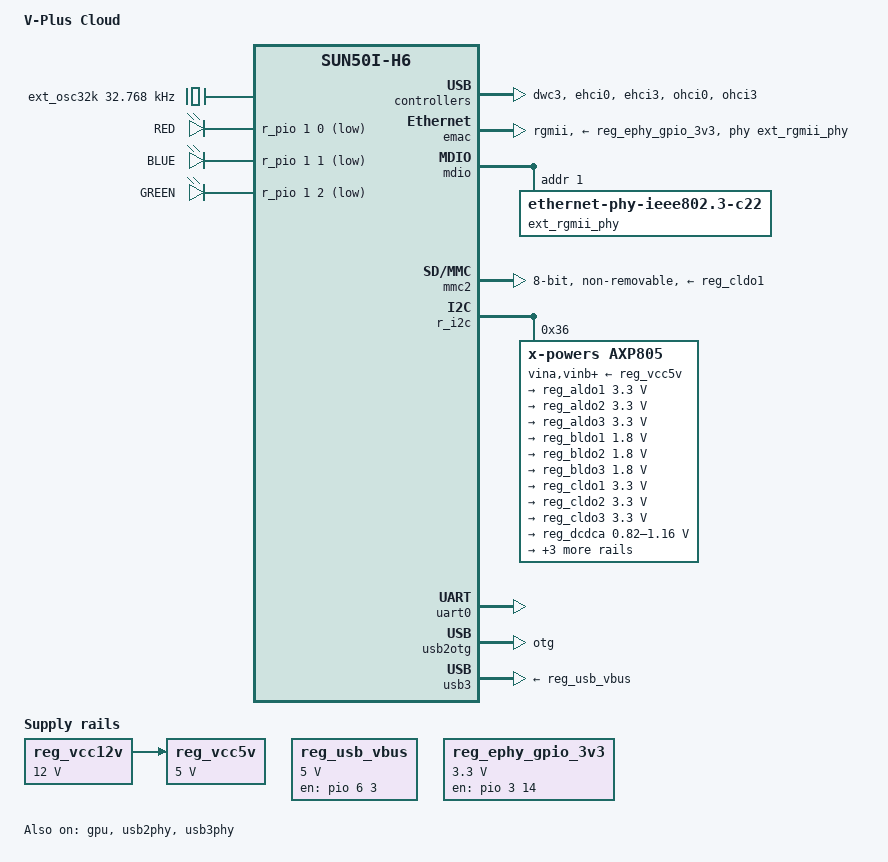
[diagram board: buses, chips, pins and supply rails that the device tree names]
// SPDX-License-Identifier: (GPL-2.0+ OR MIT)
// Copyright (C) 2019 Ondřej Jirman <megous@megous.com>

/dts-v1/;

#include "sun50i-h6.dtsi"
#include "sun50i-h6-vplus-cloud-cpu-opp.dtsi"
#include <dt-bindings/gpio/gpio.h>

/ {
	model = "V-Plus Cloud";
	compatible = "vplus,vplus-cloud", "allwinner,sun50i-h6";

	aliases {
		serial0 = &uart0;
		ethernet0 = &emac;
	};

	chosen {
		stdout-path = "serial0:115200n8";
	};

	ext_osc32k: ext_osc32k_clk {
		#clock-cells = <0>;
		compatible = "fixed-clock";
		clock-frequency = <32768>;
		clock-output-names = "ext_osc32k";
	};

	leds {
		compatible = "gpio-leds";

		power {
			label = "RED";
			gpios = <&r_pio 1 0 GPIO_ACTIVE_LOW>; /* PM0 */
			linux,default-trigger = "default-on";
		};

		link {
			label = "BLUE";
			gpios = <&r_pio 1 1 GPIO_ACTIVE_LOW>;
			linux,default-trigger = "stmmac-0:01:link"; /* PM1 */
		};

		disk {
			label = "GREEN";
			gpios = <&r_pio 1 2 GPIO_ACTIVE_LOW>; /* PM2 */
			linux,default-trigger = "mmc0";
		};
	};

	reg_vcc12v: vcc12v {
		compatible = "regulator-fixed";
		regulator-name = "vcc-12v";
		regulator-min-microvolt = <12000000>;
		regulator-max-microvolt = <12000000>;
		regulator-always-on;
		regulator-boot-on;
	};

	reg_vcc5v: vcc5v {
		compatible = "regulator-fixed";
		regulator-name = "vcc-5v";
		regulator-min-microvolt = <5000000>;
		regulator-max-microvolt = <5000000>;
		regulator-always-on;
		regulator-boot-on;
		vin-supply = <&reg_vcc12v>;
	};

	reg_usb_vbus: vbus {
		compatible = "regulator-fixed";
		//regulator-name = "usb-vbus";
		regulator-name = "vbus";
		regulator-min-microvolt = <5000000>;
		regulator-max-microvolt = <5000000>;
		gpio = <&pio 6 3 GPIO_ACTIVE_HIGH>; /* PG3 */
		startup-delay-us = <100000>;
		enable-active-high;
	};

	reg_ephy_gpio_3v3: ephy-gpio-3v3 {
		compatible = "regulator-fixed";
		regulator-name = "vcc-ephy-gpio-3v3";

		regulator-min-microvolt = <3300000>;
		regulator-max-microvolt = <3300000>;
		startup-delay-us = <100000>;

		gpio = <&pio 3 14 GPIO_ACTIVE_HIGH>; /* PD14 */
		enable-active-high;
	};
};

&cpu0 {
	cpu-supply = <&reg_dcdca>;
};

&de {
	status = "disabled";
};

&dwc3 {
	status = "okay";
};

&ehci0 {
	status = "okay";
};

&ehci3 {
	status = "okay";
};

&gpu {
	mali-supply = <&reg_dcdcc>;
	status = "okay";
};

&hdmi {
	status = "disabled";
};

&emac {
	pinctrl-names = "default";
	pinctrl-0 = <&ext_rgmii_pins>;

	phy-mode = "rgmii";
	phy-handle = <&ext_rgmii_phy>;

	/* 
	 * The external ethernet phy is powered by reg_aldo2,
	 * This is the real situation, but for individual 
	 * boxes it can cause the network to not work, 
	 * so a workaround has to be used.
	 * phy-supply = <&reg_aldo2>;
	 */
	phy-supply = <&reg_ephy_gpio_3v3>;

	allwinner,rx-delay-ps = <900>;
	allwinner,tx-delay-ps = <600>;

	status = "okay";
};

&mdio {
	ext_rgmii_phy: ethernet-phy@1 {
		compatible = "ethernet-phy-ieee802.3-c22";
		reg = <1>;
		//max-speed = <1000>;
		//reset-assert-us = <15000>;
		//reset-deassert-us = <50000>;
		//reset-gpios = <&pio 3 14 GPIO_ACTIVE_LOW>; /* PD14 */
	};
};

&mmc0 {
	status = "disabled";
};

&mmc1 {
	status = "disabled";
};

&mmc2_pins {
	drive-strength = <40>;
};

&mmc2 {
	vmmc-supply = <&reg_cldo1>;
	vqmmc-supply = <&reg_bldo2>;
	non-removable;
	disable-wp;
	cap-mmc-hw-reset;
	cap-mmc-highspeed;

	mmc-ddr-1_8v;
	mmc-hs200-1_8v;

	bus-width = <8>;
	max-frequency = <200000000>;

	status = "okay";
};

&ohci0 {
	status = "okay";
};

&ohci3 {
	status = "okay";
};

&pio {
	vcc-pc-supply = <&reg_bldo2>; // 1v8
	vcc-pd-supply = <&reg_cldo1>; // 3v3
	vcc-pg-supply = <&reg_cldo3>; // 3v3
};

&r_pio {
	/*
	 * PL0 and PL1 are used for PMIC I2C
	 * don't enable the pl-supply else
	 * it will fail at boot
	 */
	vcc-pm-supply = <&reg_cldo3>; // 3v3

	led_pins: led-pins {
		pins = "PM0", "PM1", "PM2";
		function = "gpio_out";
	};
};

&r_i2c {
	status = "okay";

	axp805: pmic@36 {
		compatible = "x-powers,axp805", "x-powers,axp806";
		reg = <0x36>;
		interrupt-parent = <&r_intc>;
		interrupts = <GIC_SPI 96 IRQ_TYPE_LEVEL_LOW>;
		interrupt-controller;
		#interrupt-cells = <1>;
		x-powers,self-working-mode;
		vina-supply = <&reg_vcc5v>;
		vinb-supply = <&reg_vcc5v>;
		vinc-supply = <&reg_vcc5v>;
		vind-supply = <&reg_vcc5v>;
		vine-supply = <&reg_vcc5v>;
		aldoin-supply = <&reg_vcc5v>;
		bldoin-supply = <&reg_vcc5v>;
		cldoin-supply = <&reg_vcc5v>;

		regulators {
			reg_aldo1: aldo1 {
				regulator-always-on;
				regulator-min-microvolt = <3300000>;
				regulator-max-microvolt = <3300000>;
				regulator-name = "vcc-pl";
			};

			reg_aldo2: aldo2 {
				regulator-always-on;
				regulator-min-microvolt = <3300000>;
				regulator-max-microvolt = <3300000>;
				regulator-name = "vcc-tv-ldoin-ephy-mac";
				regulator-enable-ramp-delay = <100000>;
			};

			reg_aldo3: aldo3 {
				/* unused */
				regulator-always-on;
				regulator-min-microvolt = <3300000>;
				regulator-max-microvolt = <3300000>;
				regulator-name = "vcc25-dram";
			};

			reg_bldo1: bldo1 {
				regulator-always-on;
				regulator-min-microvolt = <1800000>;
				regulator-max-microvolt = <1800000>;
				regulator-name = "vcc-bias-pll";
			};

			reg_bldo2: bldo2 {
				regulator-always-on;
				regulator-min-microvolt = <1800000>;
				regulator-max-microvolt = <1800000>;
				regulator-name = "vcc-efuse-pcie-hdmi-io";
			};

			reg_bldo3: bldo3 {
				/* unused */
				regulator-always-on;
				regulator-min-microvolt = <1800000>;
				regulator-max-microvolt = <1800000>;
				regulator-name = "vcc-dcxoio";
			};

			bldo4 {
				/* unused */
			};

			reg_cldo1: cldo1 {
				regulator-always-on;
				regulator-min-microvolt = <3300000>;
				regulator-max-microvolt = <3300000>;
				regulator-name = "vcc-3v3";
			};

			reg_cldo2: cldo2 {
				/* unused */
				regulator-always-on;
				regulator-min-microvolt = <3300000>;
				regulator-max-microvolt = <3300000>;
				regulator-name = "vcc-wifi-1";
				
			};

			reg_cldo3: cldo3 {
				/* VCC-PG-PM */
				regulator-always-on;
				regulator-min-microvolt = <3300000>;
				regulator-max-microvolt = <3300000>;
				regulator-name = "vcc-pg-pm";
			};

			reg_dcdca: dcdca {
				regulator-always-on;
				regulator-min-microvolt = <820000>;
				regulator-max-microvolt = <1160000>;
				regulator-name = "vdd-cpu";
			};

			reg_dcdcc: dcdcc {
				regulator-enable-ramp-delay = <32000>;
				regulator-min-microvolt = <810000>;
				regulator-max-microvolt = <1080000>;
				regulator-name = "vdd-gpu";
			};

			reg_dcdcd: dcdcd {
				regulator-always-on;
				regulator-min-microvolt = <960000>;
				regulator-max-microvolt = <960000>;
				regulator-name = "vdd-sys";
			};

			reg_dcdce: dcdce {
				regulator-always-on;
				regulator-min-microvolt = <1200000>;
				regulator-max-microvolt = <1200000>;
				regulator-name = "vcc-dram";
			};

			sw {
				/* unused */
			};
		};
	};
};

&r_ir {
	status = "disabled";
};

&rtc {
	clocks = <&ext_osc32k>;
};

&uart0 {
	pinctrl-names = "default";
	pinctrl-0 = <&uart0_ph_pins>;
	status = "okay";
};

&usb2otg {
	dr_mode = "otg";
	status = "okay";
};

&usb2phy {
	usb0_id_det-gpios = <&pio 7 4 GPIO_ACTIVE_HIGH>; /* PH4 */
	usb0_vbus-supply = <&reg_vcc5v>;
	usb3_vbus-supply = <&reg_usb_vbus>;
	status = "okay";
};

&usb3phy {
	phy-supply = <&reg_usb_vbus>;
	status = "okay";
};

&soc {
	/delete-node/ usb@5200000;
	/delete-node/ phy@5210000;
	usb3: usb3@5200000 {
		compatible = "allwinner,sun50i-h6-xhci";
		reg = <0x05200000 0x100000>;
		interrupts = <GIC_SPI 26 IRQ_TYPE_LEVEL_HIGH>;
		clocks = <&ccu CLK_BUS_XHCI>, <&ccu CLK_USB_PHY1>;
		clock-names = "xhci", "phy";
		resets = <&ccu RST_BUS_XHCI>, <&ccu RST_USB_PHY1>;
		reset-names = "xhci", "phy";
		#phy-cells = <0>;
		phy-supply = <&reg_usb_vbus>;
		status = "okay";
	};
};
